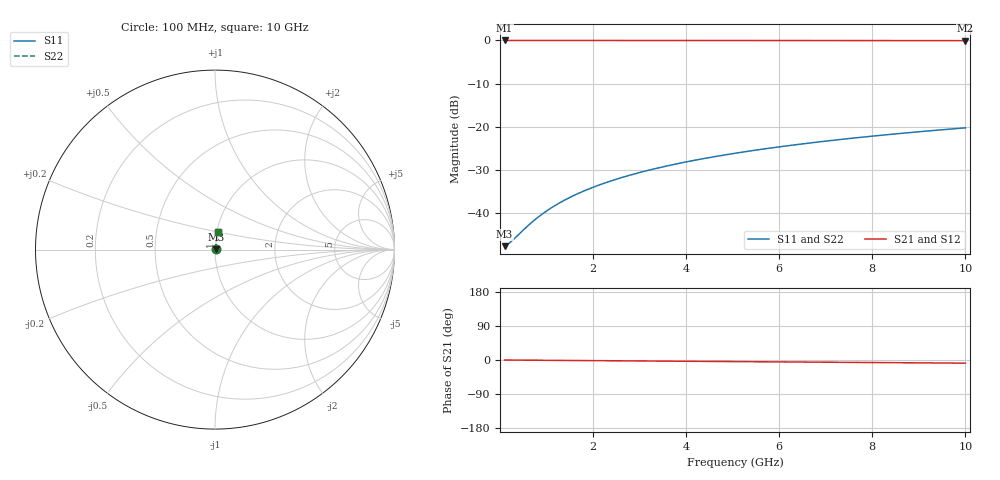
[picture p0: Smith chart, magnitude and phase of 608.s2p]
# Hz S RI R 50.00
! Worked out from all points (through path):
!   100 points, 100 MHz to 10 GHz, reference 50 ohm
!   highest |S21| = -0.04 dB at 100 MHz (marker M1); lowest = -0.1 dB at 10 GHz (marker M2)
!   group delay of S21, straight-line fit = 2.31 ps
!   lowest |S11| = -47.6 dB at 100 MHz (marker M3), VSWR 1.01, Z = 50.4 + j0.0976 ohm
!   |S11| at or under -10 dB: start of sweep to end of sweep
!   |S22| runs from -47.6 to -20.3 dB; largest |S21 - S12| = 0
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1e8  0.00404 0.000968  0.996 -0.00145  0.996 -0.00145  0.00404 0.000968
2e8  0.00407 0.00194  0.9959 -0.0029  0.9959 -0.0029  0.00407 0.00194
3e8  0.00409 0.0029  0.9959 -0.00434  0.9959 -0.00434  0.00409 0.0029
5e8  0.00414 0.00484  0.9958 -0.00724  0.9958 -0.00724  0.00414 0.00484
7e8  0.0042 0.00677  0.9958 -0.0101  0.9958 -0.0101  0.0042 0.00677
8e8  0.00423 0.00774  0.9958 -0.0116  0.9958 -0.0116  0.00423 0.00774
1e9  0.0043 0.00967  0.9957 -0.0145  0.9957 -0.0145  0.0043 0.00967
1.2e9  0.00438 0.0116  0.9956 -0.0174  0.9956 -0.0174  0.00438 0.0116
1.4e9  0.00446 0.0135  0.9955 -0.0203  0.9955 -0.0203  0.00446 0.0135
1.6e9  0.00456 0.0155  0.9954 -0.0232  0.9954 -0.0232  0.00456 0.0155
1.8e9  0.00467 0.0174  0.9953 -0.026  0.9953 -0.026  0.00467 0.0174
2.1e9  0.00485 0.0203  0.9951 -0.0304  0.9951 -0.0304  0.00485 0.0203
2.5e9  0.00513 0.0242  0.9948 -0.0362  0.9948 -0.0362  0.00513 0.0242
2.9e9  0.00545 0.028  0.9944 -0.0419  0.9944 -0.0419  0.00545 0.028
3.4e9  0.00591 0.0328  0.9939 -0.0492  0.9939 -0.0492  0.00591 0.0328
4.2e9  0.00679 0.0405  0.993 -0.0607  0.993 -0.0607  0.00679 0.0405
5.1e9  0.008 0.0491  0.9917 -0.0737  0.9917 -0.0737  0.008 0.0491
5.9e9  0.00926 0.0568  0.9903 -0.0851  0.9903 -0.0851  0.00926 0.0568
6.7e9  0.0107 0.0644  0.9888 -0.0966  0.9888 -0.0966  0.0107 0.0644
7.5e9  0.0123 0.0719  0.987 -0.108  0.987 -0.108  0.0123 0.0719
8.4e9  0.0143 0.0804  0.9848 -0.1209  0.9848 -0.1209  0.0143 0.0804
1e10  0.0185 0.0953  0.9803 -0.1435  0.9803 -0.1435  0.0185 0.0953
